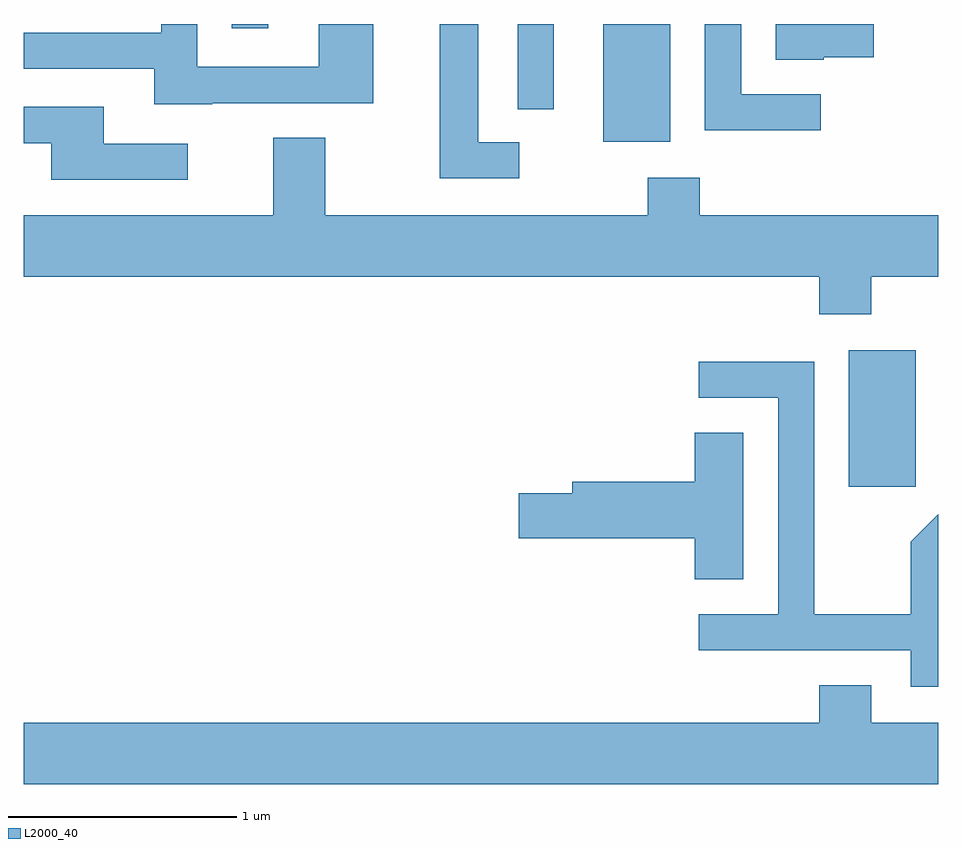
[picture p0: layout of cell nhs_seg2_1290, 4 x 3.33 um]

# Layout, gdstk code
import gdstk
lib = gdstk.Library(unit=1e-6, precision=1e-09)
def R(c, l, rs):  # rectangles x0, y0, x1, y1
    for r in rs: c.add(gdstk.rectangle(r[:2], r[2:], *l))
def P(c, l, *ps):  # polygons
    for p in ps: c.add(gdstk.Polygon(p, *l))
L2000_40 = (2000, 40)

nhs_seg2_1290 = lib.new_cell('nhs_seg2_1290')
R(nhs_seg2_1290, L2000_40, [(225.221,1111.776,225.514,1112.374), (224.146,1113.286,224.439,1113.802), (223.771,1113.428,223.929,1113.802), (222.521,1113.783,222.679,1113.802)])
P(nhs_seg2_1290, L2000_40, [(225.11,1113.656),(225.329,1113.656),(225.329,1113.802),(224.901,1113.802),(224.901,1113.646),(225.11,1113.646)],
  [(225.098,1113.494),(224.749,1113.494),(224.749,1113.802),(224.591,1113.802),(224.591,1113.336),(225.098,1113.336)],
  [(222.435,1113.456),(223.139,1113.456),(223.139,1113.802),(222.901,1113.802),(222.901,1113.614),(222.369,1113.614),(222.369,1113.802),(222.211,1113.802),(222.211,1113.764),(221.611,1113.764),(221.611,1113.606),(222.181,1113.606),(222.181,1113.451),(222.435,1113.451)],
  [(223.778,1113.284),(223.599,1113.284),(223.599,1113.802),(223.431,1113.802),(223.431,1113.126),(223.778,1113.126)],
  [(222.328,1113.279),(221.959,1113.279),(221.959,1113.439),(221.611,1113.439),(221.611,1113.281),(221.731,1113.281),(221.731,1113.121),(222.328,1113.121)],
  [(225.319,1112.696),(225.611,1112.696),(225.611,1112.964),(224.569,1112.964),(224.569,1113.129),(224.341,1113.129),(224.341,1112.964),(222.929,1112.964),(222.929,1113.304),(222.701,1113.304),(222.701,1112.964),(221.611,1112.964),(221.611,1112.696),(225.091,1112.696),(225.091,1112.531),(225.319,1112.531)],
  [(225.611,1111.657),(225.491,1111.537),(225.491,1111.219),(225.069,1111.219),(225.069,1112.324),(224.563,1112.324),(224.563,1112.166),(224.911,1112.166),(224.911,1111.219),(224.563,1111.219),(224.563,1111.061),(225.491,1111.061),(225.491,1110.901),(225.611,1110.901)],
  [(224.759,1112.014),(224.546,1112.014),(224.546,1111.799),(224.011,1111.799),(224.011,1111.749),(223.776,1111.749),(223.776,1111.551),(224.546,1111.551),(224.546,1111.371),(224.759,1111.371)],
  [(225.611,1110.744),(225.319,1110.744),(225.319,1110.909),(225.091,1110.909),(225.091,1110.744),(221.611,1110.744),(221.611,1110.476),(225.611,1110.476)])

lib.write_gds('nhs_seg2_1290.gds')
